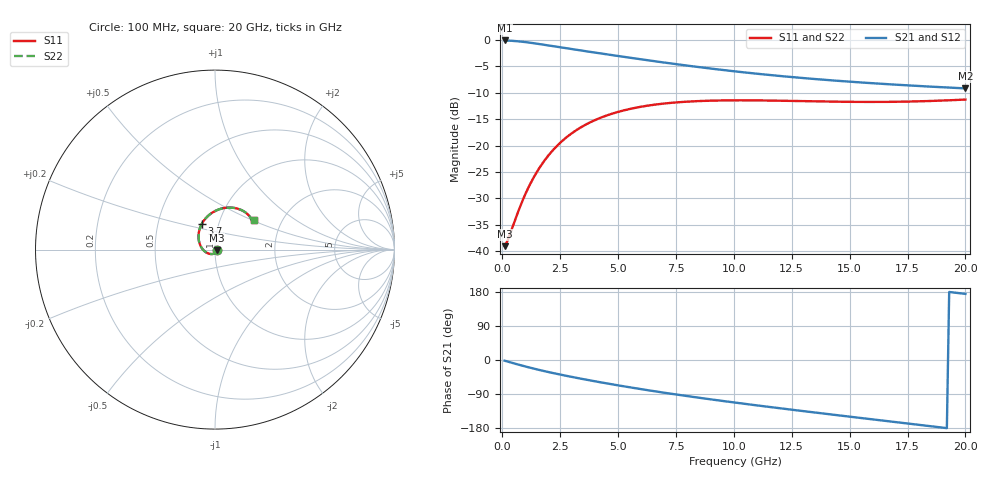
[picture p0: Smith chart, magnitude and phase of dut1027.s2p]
! Touchstone file exported from HFSS 2024.1.0
!  File:  C:/UserFiles/LocalFiles/RDL_TSV_Batchsim/temp_RDL_TSV_1027_1780083013.aedt
!  Generated:  03:44:19 AM May 30, 2026
!  Design:  RDL_TSV
!  Project:  temp_RDL_TSV_1027_1780083013
!  Setup:  Setup1
!  Solution:  Sweep
! Variables:
!  dtsv = 10.79um
!  hbump = 3um
!  htsv = 98.53um
!  ldown = 375.24um
!  lrdl = 298.21um
!  p = 40
!  p1 = 53.21um
!  rhole = 10um
!  subl = 2318.56um
!  t = 450um
!  tdown = 4.2um
!  trdl = 3.05um
!  viad = 10um
!  wdown = 21.6um
!  wrdl = 25.76um
!  xbump = 18um
# GHz S MA R 50.000000
! Terminal data exported
! Port[1] = TM1_1_T1
! Port[2] = TM1_4_T1
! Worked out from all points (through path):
!   200 points, 100 MHz to 20 GHz, reference 50 ohm
!   highest |S21| = -0.10 dB at 100 MHz (marker M1); lowest = -9.2 dB at 20 GHz (marker M2)
!   group delay of S21, straight-line fit = 24.1 ps
!   lowest |S11| = -39.1 dB at 100 MHz (marker M3), VSWR 1.02, Z = 51.1 - j0.368 ohm
!   |S11| at or under -10 dB: start of sweep to end of sweep
!   |S22| runs from -39.1 to -11.3 dB; largest |S21 - S12| = 3.6e-14
!   S11 on the Smith chart (normalised r, x): 100 MHz: 1.02, -0.01; 3.7 GHz: 0.83, +0.25; 20 GHz: 1.44, +0.52
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0.1  0.01114 -18.9  0.9886 -1.8  0.9886 -1.8  0.01114 -18.9
! Gamma 0 0 0 0
! Port Impedance 50 0 50 0
0.2  0.01222 -37.3  0.987 -3.6  0.987 -3.6  0.01222 -37.3
0.3  0.01385 -54.5  0.9846 -5.4  0.9846 -5.4  0.01385 -54.5
0.7  0.02414 -107.7  0.9696 -12.2  0.9696 -12.2  0.02414 -107.7
1  0.0348 -135.2  0.9536 -17.2  0.9536 -17.2  0.0348 -135.2
1.3  0.04735 -156.6  0.9347 -21.9  0.9347 -21.9  0.04735 -156.6
1.6  0.06124 -173.9  0.9143 -26.3  0.9143 -26.3  0.06126 -173.9
2  0.08098 167.4  0.8863 -31.9  0.8863 -31.9  0.08101 167.4
2.5  0.1062 148.7  0.852 -38.5  0.852 -38.5  0.1062 148.7
3  0.1306 133.7  0.8192 -44.6  0.8192 -44.6  0.1307 133.7
3.5  0.1534 121.2  0.7882 -50.5  0.7882 -50.5  0.1534 121.2
3.7  0.1619 116.7  0.7763 -52.8  0.7763 -52.8  0.162 116.7
4.4  0.1888 103.1  0.7365 -60.6  0.7365 -60.6  0.189 103.1
5.1  0.2111 91.8  0.6993 -67.9  0.6993 -67.9  0.2113 91.8
6.8  0.2472 71.4  0.6189 -84.6  0.6189 -84.6  0.2474 71.3
8.4  0.2632 58.1  0.5561 -98.8  0.5561 -98.8  0.2634 58.1
10.1  0.268 48.4  0.5023 -112.8  0.5023 -112.8  0.2683 48.4
11.7  0.2663 42.5  0.462 -125.2  0.462 -125.2  0.2666 42.4
13.4  0.2623 38.7  0.428 -137.9  0.428 -137.9  0.2625 38.7
15  0.2592 37.1  0.4024 -149.5  0.4024 -149.5  0.2594 37.1
16.7  0.2591 36.8  0.3803 -161.8  0.3803 -161.8  0.2593 36.8
20  0.2725 37.8  0.3475 174.5  0.3475 174.5  0.2727 37.8
